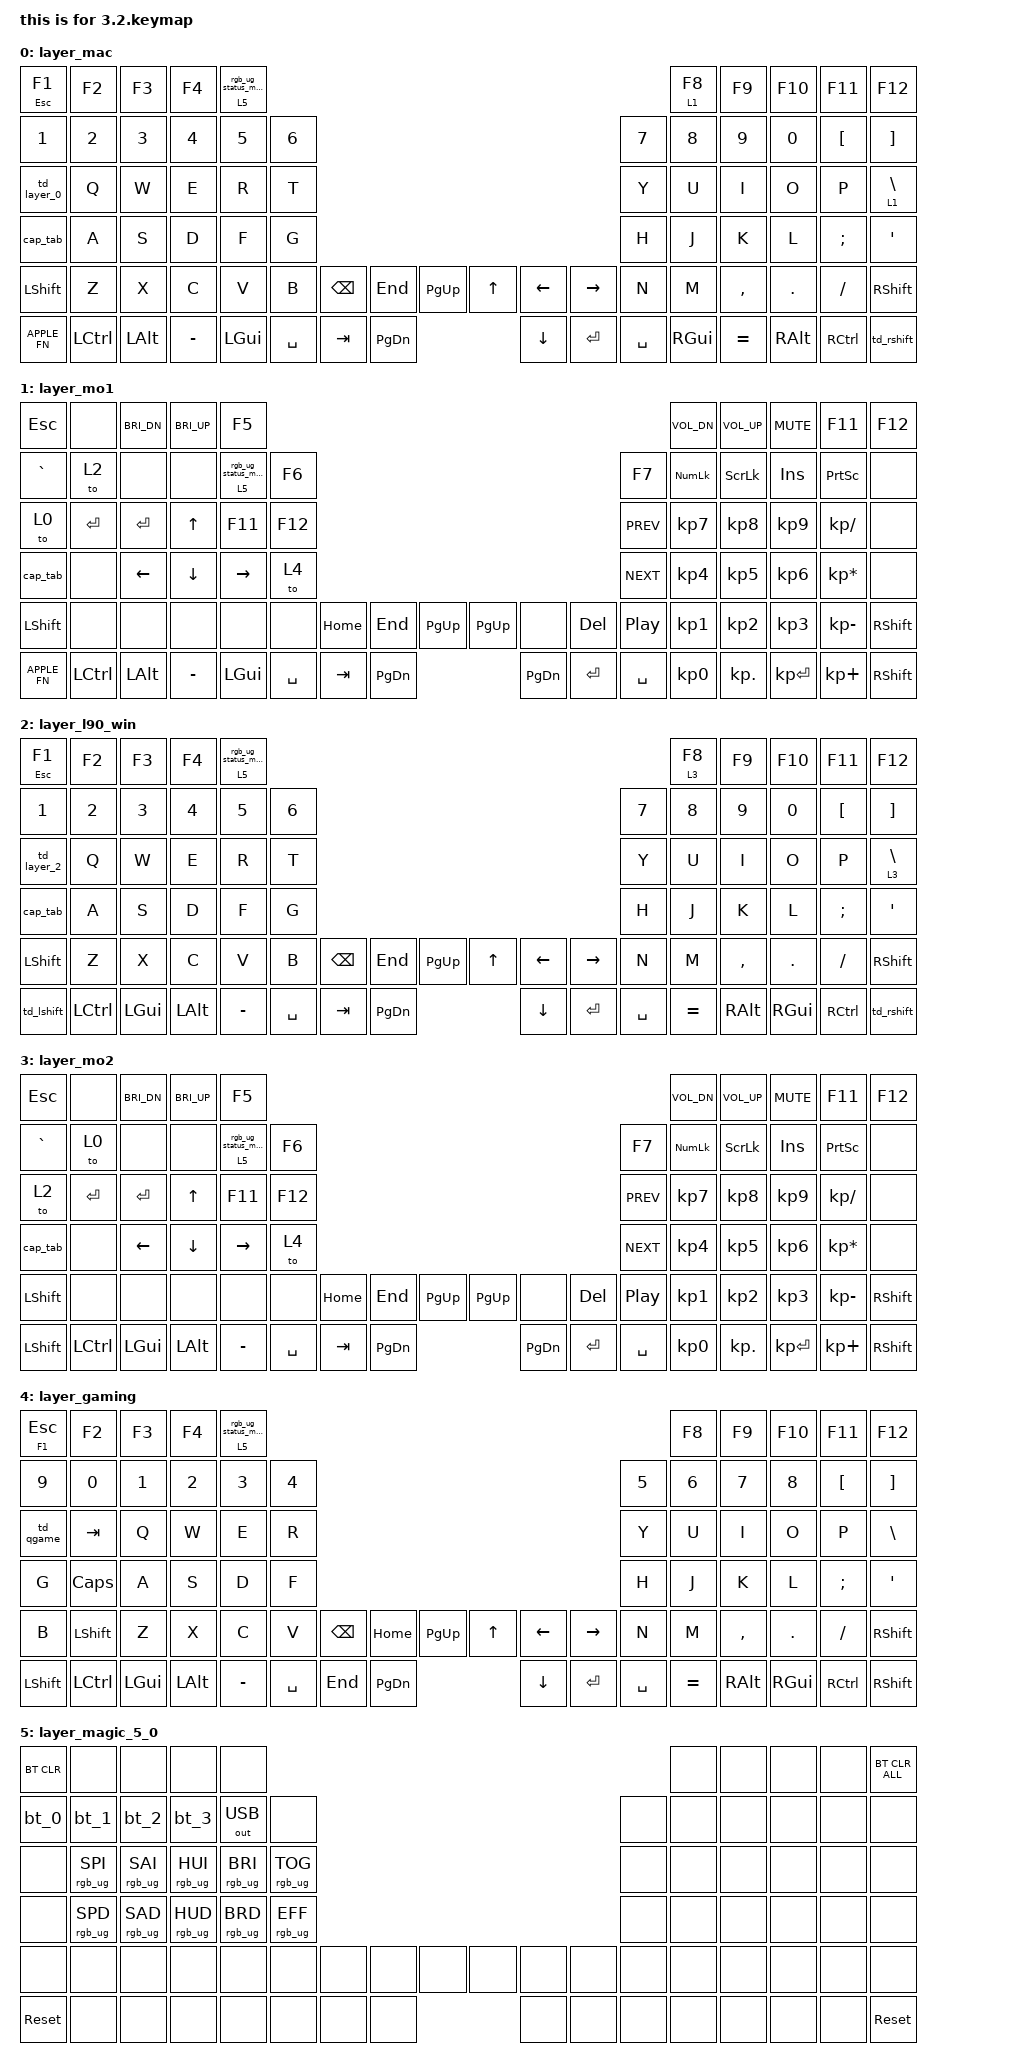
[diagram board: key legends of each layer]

/*
 * Copyright (c) 2020 The ZMK Contributors
 * Copyright (c) 2022 Innaworks Development Limited, trading as MoErgo
 *
 * SPDX-License-Identifier: MIT
 */


/* THIS FILE WAS GENERATED BY GLOVE80 LAYOUT EDITOR
 *
 * This file was generated automatically. You may or may not want to
 * edit it directly.
 */

#include <behaviors.dtsi>
/* Include all behaviour includes needed by system behaviors/macros */
#include <dt-bindings/zmk/outputs.h>

/* Include behaviour includes needed by key binds - automatically generated */
#include <dt-bindings/zmk/keys.h>
#include <dt-bindings/zmk/bt.h>
#include <dt-bindings/zmk/outputs.h>
#include <dt-bindings/zmk/rgb.h>


/ {
    /* Glove80 system behavior & macros */
    behaviors {
        // For the "layer" key, it'd nice to be able to use it as either a shift or a toggle.
        // Configure it as a tap dance, so the first tap (or hold) is a &mo and the second tap is a &to
        lower: tap_dance_0 {
            compatible = "zmk,behavior-tap-dance";
            label = "LAYER_TAP_DANCE";
            #binding-cells = <0>;
            tapping-term-ms = <200>;
            bindings = <&mo 1>, <&to 1>;
        };
    };
};

/ {
    macros {
        rgb_ug_status_macro: rgb_ug_status_macro_0 {
            label = "RGB_UG_STATUS";
            compatible = "zmk,behavior-macro";
            #binding-cells = <0>;
            bindings
                = <&rgb_ug RGB_STATUS>;
        };

        bt_0: bt_profile_macro_0 {
            label = "BT_0";
            compatible = "zmk,behavior-macro";
            #binding-cells = <0>;
            bindings
                = <&out OUT_BLE>,
                  <&bt BT_SEL 0>;
        };

        bt_1: bt_profile_macro_1 {
            label = "BT_1";
            compatible = "zmk,behavior-macro";
            #binding-cells = <0>;
            bindings
                = <&out OUT_BLE>,
                  <&bt BT_SEL 1>;
        };

        bt_2: bt_profile_macro_2 {
            label = "BT_2";
            compatible = "zmk,behavior-macro";
            #binding-cells = <0>;
            bindings
                = <&out OUT_BLE>,
                  <&bt BT_SEL 2>;
        };

        bt_3: bt_profile_macro_3 {
            label = "BT_3";
            compatible = "zmk,behavior-macro";
            #binding-cells = <0>;
            bindings
                = <&out OUT_BLE>,
                  <&bt BT_SEL 3>;
        };
    };
};

/ {
    magic: magic_hold_tap {
        compatible = "zmk,behavior-hold-tap";
        label = "MAGIC_HOLD_TAP";
        #binding-cells = <2>;
        flavor = "tap-preferred";
        tapping-term-ms = <200>;
        bindings = <&mo>, <&rgb_ug_status_macro>;
    };
};

    /* Custom Defined Behaviors */
/ {
    behaviors {
    td_layer_0: tap_dance_0 {
        compatible = "zmk,behavior-tap-dance";
        label = "TAP_DANCE_TO_1";
        #binding-cells = <0>;
        tapping-term-ms = <200>;
        bindings = <&mo 1>, <&to 1>;
    };
    td_layer_2: tap_dance_2 {
        compatible = "zmk,behavior-tap-dance";
        label = "TAP_DANCE_TO_3";
        #binding-cells = <0>;
        tapping-term-ms = <200>;
        bindings = <&mo 3>, <&to 3>;
    };
    td_lshift: tap_dance_3 {
        compatible = "zmk,behavior-tap-dance";
        label = "TAP_LOCK_LSHIFT";
        #binding-cells = <0>;
        tapping-term-ms = <200>;
        bindings = <&kp LSHIFT>, <&kt LSHIFT>;
    };
    td_rshift: tap_dance_4 {
        compatible = "zmk,behavior-tap-dance";
        label = "TAP_LOCK_RSHIFT";
        #binding-cells = <0>;
        tapping-term-ms = <200>;
        bindings = <&kp RSHIFT>, <&kt RSHIFT>;
    };
    td_bkspace: tap_dance_5 {
        compatible = "zmk,behavior-tap-dance";
        label = "TAP_BACKSPACE";
        #binding-cells = <0>;
        tapping-term-ms = <1>;
        bindings = <&kp BACKSPACE>, <&kp HOME>;
    };
    td_right: tap_dance_6 {
        compatible = "zmk,behavior-tap-dance";
        label = "TAP_RIGHT";
        #binding-cells = <0>;
        tapping-term-ms = <185>;
        bindings = <&kp RIGHT>, <&kp DELETE>;
    };
    td_qgame: tap_dance_7 {
        compatible = "zmk,behavior-tap-dance";
        label = "TAP_QUIT_GAMING";
        #binding-cells = <0>;
        tapping-term-ms = <200>;
        bindings = <&kp T>, <&to 2>;
    };
    cap_tab: cap_tab {
        compatible = "zmk,behavior-mod-morph";
        label = "CAP_TAB";
        #binding-cells = <0>;
        bindings = <&kp CAPS>, <&kp TAB>;
        mods = <(MOD_LCTL|MOD_LGUI)>;
        keep-mods = <(MOD_LCTL|MOD_LGUI)>;
    };
    bslh_hold: bslh_hold {
        compatible = "zmk,behavior-hold-tap";
        label = "BSLH_HOLD";
        #binding-cells = <2>;
        flavor = "hold-preferred";
        tapping-term-ms = <200>;
        quick-tap-ms = <125>;
        global-quick-tap;
        bindings = <&mo>, <&kp>;
    };
 };

};

    /* Automatically generated keymap */
/ {
    keymap {
        compatible = "zmk,keymap";


        layer_mac {
            bindings = <
  &mt ESC F1     &kp F2    &kp F3     &kp F4  &magic 5 0                                                                                &bslh_hold 1 F8     &kp F9   &kp F10    &kp F11            &kp F12
      &kp N1     &kp N2    &kp N3     &kp N4      &kp N5  &kp N6                                                                &kp N7           &kp N8     &kp N9    &kp N0   &kp LBKT           &kp RBKT
 &td_layer_0      &kp Q     &kp W      &kp E       &kp R   &kp T                                                                 &kp Y            &kp U      &kp I     &kp O      &kp P  &bslh_hold 1 BSLH
    &cap_tab      &kp A     &kp S      &kp D       &kp F   &kp G                                                                 &kp H            &kp J      &kp K     &kp L   &kp SEMI            &kp SQT
   &kp LSHFT      &kp Z     &kp X      &kp C       &kp V   &kp B   &kp BSPC  &kp END  &kp PG_UP    &kp UP  &kp LEFT  &kp RIGHT   &kp N            &kp M  &kp COMMA   &kp DOT   &kp FSLH          &kp RSHFT
  &kp APPLE_FN  &kp LCTRL  &kp LALT  &kp MINUS    &kp LGUI          &kp SPACE  &kp TAB  &kp PG_DN  &kp DOWN   &kp RET  &kp SPACE                 &kp RGUI  &kp EQUAL  &kp RALT  &kp RCTRL         &td_rshift
            >;
        };

        layer_mo1 {
            bindings = <
   &kp ESC      &none    &kp C_BRI_DN    &kp C_BRI_UP           &kp F5                                                                                     &kp C_VOL_DN  &kp C_VOL_UP    &kp C_MUTE          &kp F11    &kp F12
 &kp GRAVE      &to 2           &none           &none       &magic 5 0   &kp F6                                                                    &kp F7    &kp KP_NUM      &kp SLCK       &kp INS        &kp PSCRN      &none
     &to 0    &kp RET         &kp RET    &kp UP_ARROW          &kp F11  &kp F12                                                                &kp C_PREV     &kp KP_N7     &kp KP_N8     &kp KP_N9     &kp KP_SLASH      &none
  &cap_tab      &none  &kp LEFT_ARROW  &kp DOWN_ARROW  &kp RIGHT_ARROW    &to 4                                                                &kp C_NEXT     &kp KP_N4     &kp KP_N5     &kp KP_N6  &kp KP_MULTIPLY      &none
 &kp LSHFT      &none           &none           &none            &none    &none   &kp HOME  &kp END  &kp PG_UP  &kp PG_UP    &none    &kp DEL    &kp C_PP     &kp KP_N1     &kp KP_N2     &kp KP_N3     &kp KP_MINUS  &kp RSHFT
 &kp APPLE_FN  &kp LCTRL        &kp LALT       &kp MINUS         &kp LGUI           &kp SPACE  &kp TAB  &kp PG_DN  &kp PG_DN  &kp RET  &kp SPACE                 &kp KP_N0    &kp KP_DOT  &kp KP_ENTER      &kp KP_PLUS  &kp RSHFT
            >;
        };

        layer_l90_win {
            bindings = <
  &mt ESC F1     &kp F2    &kp F3    &kp F4  &magic 5 0                                                                                &bslh_hold 3 F8     &kp F9   &kp F10    &kp F11            &kp F12
      &kp N1     &kp N2    &kp N3    &kp N4      &kp N5  &kp N6                                                                &kp N7           &kp N8     &kp N9    &kp N0   &kp LBKT           &kp RBKT
 &td_layer_2      &kp Q     &kp W     &kp E       &kp R   &kp T                                                                 &kp Y            &kp U      &kp I     &kp O      &kp P  &bslh_hold 3 BSLH
    &cap_tab      &kp A     &kp S     &kp D       &kp F   &kp G                                                                 &kp H            &kp J      &kp K     &kp L   &kp SEMI            &kp SQT
   &kp LSHFT      &kp Z     &kp X     &kp C       &kp V   &kp B   &kp BSPC  &kp END  &kp PG_UP    &kp UP  &kp LEFT  &kp RIGHT   &kp N            &kp M  &kp COMMA   &kp DOT   &kp FSLH          &kp RSHFT
  &td_lshift  &kp LCTRL  &kp LGUI  &kp LALT   &kp MINUS          &kp SPACE  &kp TAB  &kp PG_DN  &kp DOWN   &kp RET  &kp SPACE                &kp EQUAL   &kp RALT  &kp RGUI  &kp RCTRL         &td_rshift
            >;
        };

        layer_mo2 {
            bindings = <
   &kp ESC      &none  &kp C_BRI_DN  &kp C_BRI_UP      &kp F5                                                                                     &kp C_VOL_DN  &kp C_VOL_UP    &kp C_MUTE          &kp F11    &kp F12
 &kp GRAVE      &to 0         &none         &none  &magic 5 0   &kp F6                                                                    &kp F7    &kp KP_NUM      &kp SLCK       &kp INS        &kp PSCRN      &none
     &to 2    &kp RET       &kp RET        &kp UP     &kp F11  &kp F12                                                                &kp C_PREV     &kp KP_N7     &kp KP_N8     &kp KP_N9     &kp KP_SLASH      &none
  &cap_tab      &none      &kp LEFT      &kp DOWN   &kp RIGHT    &to 4                                                                &kp C_NEXT     &kp KP_N4     &kp KP_N5     &kp KP_N6  &kp KP_MULTIPLY      &none
 &kp LSHFT      &none         &none         &none       &none    &none   &kp HOME  &kp END  &kp PG_UP  &kp PG_UP    &none    &kp DEL    &kp C_PP     &kp KP_N1     &kp KP_N2     &kp KP_N3     &kp KP_MINUS  &kp RSHFT
 &kp LSHFT  &kp LCTRL      &kp LGUI      &kp LALT   &kp MINUS           &kp SPACE  &kp TAB  &kp PG_DN  &kp PG_DN  &kp RET  &kp SPACE                 &kp KP_N0    &kp KP_DOT  &kp KP_ENTER      &kp KP_PLUS  &kp RSHFT
            >;
        };

        layer_gaming {
            bindings = <
 &mt F1 ESC     &kp F2    &kp F3    &kp F4  &magic 5 0                                                                                    &kp F8     &kp F9   &kp F10    &kp F11    &kp F12
     &kp N9     &kp N0    &kp N1    &kp N2      &kp N3  &kp N4                                                                 &kp N5     &kp N6     &kp N7    &kp N8   &kp LBKT   &kp RBKT
  &td_qgame    &kp TAB     &kp Q     &kp W       &kp E   &kp R                                                                  &kp Y      &kp U      &kp I     &kp O      &kp P   &kp BSLH
      &kp G   &kp CAPS     &kp A     &kp S       &kp D   &kp F                                                                  &kp H      &kp J      &kp K     &kp L   &kp SEMI    &kp SQT
      &kp B  &kp LSHFT     &kp Z     &kp X       &kp C   &kp V   &kp BSPC  &kp HOME  &kp PG_UP    &kp UP  &kp LEFT  &kp RIGHT   &kp N      &kp M  &kp COMMA   &kp DOT   &kp FSLH  &kp RSHFT
  &kp LSHFT  &kp LCTRL  &kp LGUI  &kp LALT   &kp MINUS          &kp SPACE   &kp END  &kp PG_DN  &kp DOWN   &kp RET  &kp SPACE          &kp EQUAL   &kp RALT  &kp RGUI  &kp RCTRL  &kp RSHFT
            >;
        };

        layer_magic_5_0 {
            bindings = <
 &bt BT_CLR            &none            &none            &none            &none                                                                            &none   &none   &none   &none  &bt BT_CLR_ALL
      &bt_0            &bt_1            &bt_2            &bt_3     &out OUT_USB            &none                                                   &none   &none   &none   &none   &none           &none
      &none  &rgb_ug RGB_SPI  &rgb_ug RGB_SAI  &rgb_ug RGB_HUI  &rgb_ug RGB_BRI  &rgb_ug RGB_TOG                                                   &none   &none   &none   &none   &none           &none
      &none  &rgb_ug RGB_SPD  &rgb_ug RGB_SAD  &rgb_ug RGB_HUD  &rgb_ug RGB_BRD  &rgb_ug RGB_EFF                                                   &none   &none   &none   &none   &none           &none
      &none            &none            &none            &none            &none            &none   &none   &none   &none   &none   &none   &none   &none   &none   &none   &none   &none           &none
 &sys_reset            &none            &none            &none            &none                    &none   &none   &none   &none   &none   &none           &none   &none   &none   &none      &sys_reset
            >;
        };

    };
};
